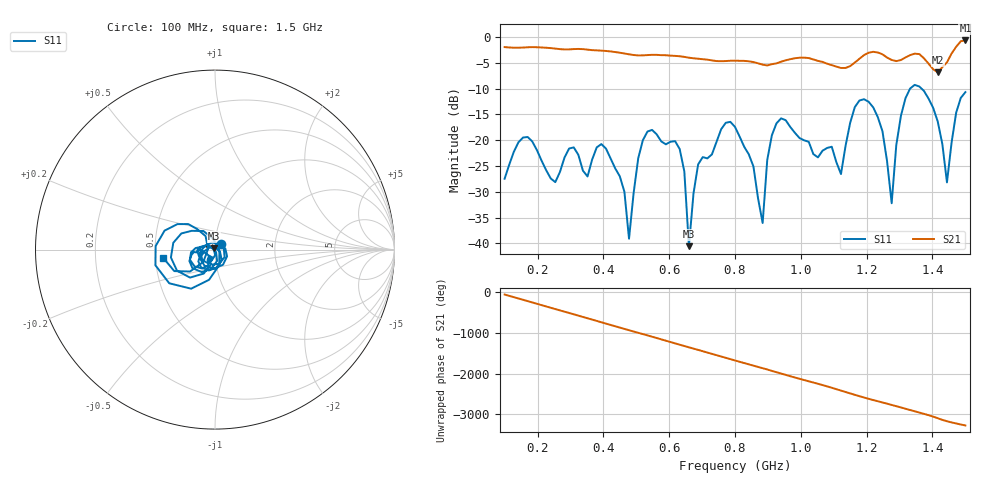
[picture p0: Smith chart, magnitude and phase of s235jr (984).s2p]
! NanoVNA-App
! Date: 2025-09-25 15:11:49
! Start: 100MHz Stop: 1,5GHz Points: 101
! S-Parameter data: F S11 S21 S12 S22
# Hz S RI R 50
!  Frequency  S11_Real  S11_Imag  S21_Real  S21_Imag  S12_Real  S12_Imag  S22_Real  S22_Imag
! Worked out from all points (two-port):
!   101 points, 100 MHz to 1.5 GHz, reference 50 ohm
!   highest |S21| = -0.68 dB at 1.5 GHz (marker M1); lowest = -6.9 dB at 1.416 GHz (marker M2)
!   |S21| within 3 dB of the highest: start of sweep to 620.4 MHz; 1.189 GHz to 1.255 GHz (66.27 MHz wide, 5.42 % of centre) (the widest 2 of 4)
!   lowest |S11| = -40.5 dB at 660 MHz (marker M3), VSWR 1.02, Z = 49.3 + j0.614 ohm
!   |S11| at or under -10 dB: start of sweep to 1.332 GHz; 1.367 GHz to end of sweep
!   S12 and S22 are empty: the file has one direction only
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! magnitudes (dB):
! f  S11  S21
! 100 MHz  -27.5  -2.0
! 170 MHz  -19.4  -2.0
! 338 MHz  -25.9  -2.4
! 408 MHz  -21.6  -2.7
! 478 MHz  -39.1  -3.4
! 520 MHz  -20.0  -3.6
! 576 MHz  -20.2  -3.5
! 632 MHz  -21.7  -3.7
! 660 MHz  -40.5  -4.0
! 688 MHz  -24.7  -4.2
! 800 MHz  -17.4  -4.6
! 884 MHz  -36.1  -5.4
! 926 MHz  -16.7  -5.1
! 1.038 GHz  -22.7  -4.4
! 1.122 GHz  -26.6  -6.0
! 1.206 GHz  -12.6  -3.1
! 1.248 GHz  -18.3  -3.4
! 1.276 GHz  -32.2  -4.5
! 1.332 GHz  -10.0  -3.5
! 1.416 GHz  -16.4  -6.9
! 1.444 GHz  -28.2  -4.9
! 1.5 GHz  -10.7  -0.7
